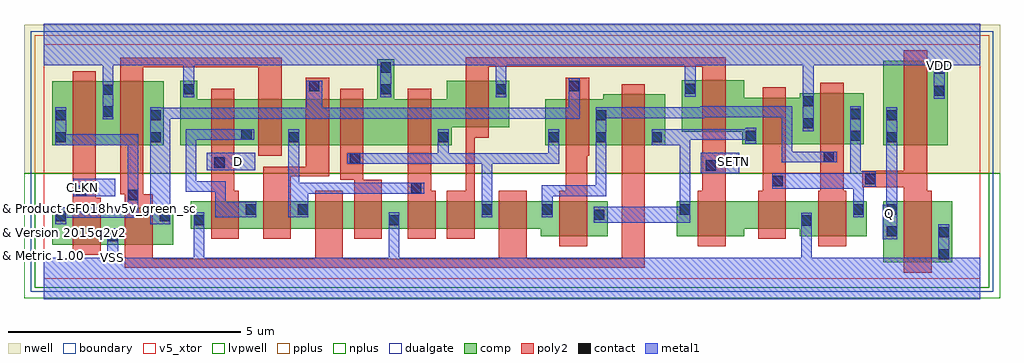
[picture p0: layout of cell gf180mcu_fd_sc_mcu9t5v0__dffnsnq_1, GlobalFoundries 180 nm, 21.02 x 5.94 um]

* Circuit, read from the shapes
.subckt gf180mcu_fd_sc_mcu9t5v0__dffnsnq_1 CLKN D Q SETN VDD VSS
XM1 VSS CLKN n1 VSUBS nfet_05v0 w=0.79u l=0.6u
XM2 n2 n1 VSS VSUBS nfet_05v0 w=0.79u l=0.6u
XM3 n3 D VSS VSUBS nfet_05v0 w=0.59u l=0.6u
XM4 n4 n2 n3 VSUBS nfet_05v0 w=0.59u l=0.6u
XM5 n5 n1 n4 VSUBS nfet_05v0 w=0.59u l=0.6u
XM6 VSS n6 n5 VSUBS nfet_05v0 w=0.59u l=0.6u
XM7 n7 n4 VSS VSUBS nfet_05v0 w=0.59u l=0.6u
XM8 n6 SETN n7 VSUBS nfet_05v0 w=0.59u l=0.6u
XM9 n8 n1 n6 VSUBS nfet_05v0 w=0.59u l=0.6u
XM10 n9 n2 n8 VSUBS nfet_05v0 w=0.75u l=0.6u
XM11 n10 SETN n9 VSUBS nfet_05v0 w=0.75u l=0.6u
XM12 VSS n11 n10 VSUBS nfet_05v0 w=0.59u l=0.6u
XM13 n11 n8 VSS VSUBS nfet_05v0 w=0.75u l=0.6u
XM14 VSS n11 Q VSUBS nfet_05v0 w=1.32u l=0.6u
XM15 VDD CLKN n1 n12 pfet_05v0 w=1.38u l=0.5u
XM16 n2 n1 VDD n12 pfet_05v0 w=1.38u l=0.5u
XM17 n3 D VDD n12 pfet_05v0 w=1u l=0.5u
XM18 n4 n1 n3 n12 pfet_05v0 w=1u l=0.5u
XM19 n13 n2 n4 n12 pfet_05v0 w=1u l=0.5u
XM20 VDD n6 n13 n12 pfet_05v0 w=1u l=0.5u
XM21 n6 n4 VDD n12 pfet_05v0 w=1u l=0.5u
XM22 VDD SETN n6 n12 pfet_05v0 w=1u l=0.5u
XM23 n8 n2 n6 n12 pfet_05v0 w=1u l=0.5u
XM24 n9 n1 n8 n12 pfet_05v0 w=1.1u l=0.5u
XM25 n9 SETN VDD n12 pfet_05v0 w=1.1u l=0.5u
XM26 VDD n11 n9 n12 pfet_05v0 w=1u l=0.5u
XM27 n11 n8 VDD n12 pfet_05v0 w=1.1u l=0.5u
XM28 VDD n11 Q n12 pfet_05v0 w=1.83u l=0.5u
.ends

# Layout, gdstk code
import gdstk
lib = gdstk.Library(unit=1e-6, precision=1e-09)
def R(c, l, rs):  # rectangles x0, y0, x1, y1
    for r in rs: c.add(gdstk.rectangle(r[:2], r[2:], *l))
def P(c, l, *ps):  # polygons
    for p in ps: c.add(gdstk.Polygon(p, *l))
boundary = (0, 0)
nwell = (21, 0)
comp = (22, 0)
poly2 = (30, 0)
pplus = (31, 0)
nplus = (32, 0)
contact = (33, 0)
metal1 = (34, 0)
dualgate = (55, 0)
v5_xtor = (112, 1)
lvpwell = (204, 0)

gf180mcu_fd_sc_mcu9t5v0_ = lib.new_cell('gf180mcu_fd_sc_mcu9t5v0__dffnsnq_1')
R(gf180mcu_fd_sc_mcu9t5v0_, boundary, [(0,0,20.16,5.04)])
R(gf180mcu_fd_sc_mcu9t5v0_, nwell, [(-0.43,2.265,20.59,5.47)])
R(gf180mcu_fd_sc_mcu9t5v0_, comp, [(18.08,0.345,19.56,1.665), (0.18,0.73,2.78,1.52), (0.18,2.865,2.58,4.245), (18.08,2.865,19.46,4.695)])
P(gf180mcu_fd_sc_mcu9t5v0_, comp, [(2.94,2.865),(2.94,4.255),(3.3,4.255),(3.3,3.865),(7.18,3.865),(7.18,4.725),(7.54,4.725),(7.54,3.865),(8.68,3.865),(8.68,4.255),(10.02,4.255),(10.02,3.255),(8.78,3.255),(8.78,2.865)],
  [(10.7,0.915),(10.7,1.075),(3.16,1.075),(3.16,1.665),(12.14,1.665),(12.14,0.915)],
  [(10.8,2.865),(10.8,3.865),(12.04,3.865),(12.04,3.965),(13.38,3.965),(13.38,2.865)],
  [(15.04,2.895),(15.04,3.165),(13.74,3.165),(13.74,4.265),(15.08,4.265),(15.08,3.895),(16.28,3.895),(16.28,3.995),(17.66,3.995),(17.66,2.895)],
  [(13.625,0.915),(13.625,1.665),(17.72,1.665),(17.72,0.915),(16.28,0.915),(16.28,1.075),(15.08,1.075),(15.08,0.915)])
P(gf180mcu_fd_sc_mcu9t5v0_, poly2, [(0.62,0.51),(0.62,4.465),(1.12,4.465),(1.12,1.74),(1.22,1.74),(1.22,0.51)],
  [(3.6,0.855),(3.6,4.085),(4.1,4.085),(4.1,1.885),(4.2,1.885),(4.2,0.855)],
  [(4.72,0.855),(4.72,2.405),(5.64,2.405),(5.64,4.325),(6.14,4.325),(6.14,2.205),(5.32,2.205),(5.32,0.855)],
  [(6.68,0.855),(6.68,2.125),(6.38,2.125),(6.38,4.085),(6.88,4.085),(6.88,2.125),(7.28,2.125),(7.28,0.855)],
  [(7.84,0.855),(7.84,4.085),(8.34,4.085),(8.34,1.885),(8.44,1.885),(8.44,0.855)],
  [(11.1,0.695),(11.1,1.885),(11.24,1.885),(11.24,4.325),(11.74,4.325),(11.74,2.645),(11.7,2.645),(11.7,0.695)],
  [(1.74,0.23),(1.74,1.82),(1.64,1.82),(1.64,4.755),(5.12,4.755),(5.12,2.645),(4.62,2.645),(4.62,4.555),(2.14,4.555),(2.14,1.82),(2.34,1.82),(2.34,0.43),(5.84,0.43),(5.84,1.885),(6.44,1.885),(6.44,0.43),(9.8,0.43),(9.8,1.885),(10.4,1.885),(10.4,0.43),(12.44,0.43),(12.44,4.185),(12.94,4.185),(12.94,0.23)],
  [(14.08,0.695),(14.08,1.885),(14.18,1.885),(14.18,4.565),(9.58,4.565),(9.58,3.035),(9.28,3.035),(9.28,0.855),(8.68,0.855),(8.68,1.885),(9.08,1.885),(9.08,4.765),(14.68,4.765),(14.68,0.695)],
  [(15.38,0.855),(15.38,1.885),(15.48,1.885),(15.48,4.115),(15.98,4.115),(15.98,0.855)],
  [(16.68,0.695),(16.68,1.885),(16.72,1.885),(16.72,4.215),(17.22,4.215),(17.22,1.885),(17.28,1.885),(17.28,0.695)],
  [(18.52,0.125),(18.52,1.965),(17.62,1.965),(17.62,2.325),(18.52,2.325),(18.52,4.915),(19.02,4.915),(19.02,1.885),(19.12,1.885),(19.12,0.125)])
R(gf180mcu_fd_sc_mcu9t5v0_, pplus, [(-0.2,2.265,20.36,5.24)])
R(gf180mcu_fd_sc_mcu9t5v0_, nplus, [(-0.2,-0.2,20.36,2.265)])
R(gf180mcu_fd_sc_mcu9t5v0_, contact, [(19.27,0.415,19.49,0.635), (1.37,0.8,1.59,1.02), (19.27,0.885,19.49,1.105), (18.15,0.905,18.37,1.125), (16.31,1.14,16.53,1.36), (3.23,1.145,3.45,1.365), (7.43,1.145,7.65,1.365), (0.25,1.23,0.47,1.45), (2.49,1.23,2.71,1.45), (11.85,1.265,12.07,1.485), (4.35,1.375,4.57,1.595), (5.47,1.375,5.69,1.595), (9.43,1.375,9.65,1.595), (10.73,1.375,10.95,1.595), (13.695,1.375,13.915,1.595), (17.43,1.375,17.65,1.595), (18.15,1.375,18.37,1.595), (1.81,1.69,2.03,1.91), (0.69,1.775,0.91,1.995), (7.91,1.835,8.13,2.055), (15.69,1.99,15.91,2.21), (17.69,2.035,17.91,2.255), (14.25,2.325,14.47,2.545), (3.67,2.39,3.89,2.61), (6.59,2.475,6.81,2.695), (16.79,2.505,17.01,2.725), (0.25,2.935,0.47,3.155), (2.29,2.935,2.51,3.155), (5.27,2.935,5.49,3.155), (8.49,2.935,8.71,3.155), (10.87,2.935,11.09,3.155), (11.89,2.935,12.11,3.155), (13.09,2.935,13.31,3.155), (18.15,2.935,18.37,3.155), (15.11,2.965,15.33,3.185), (17.37,2.965,17.59,3.185), (4.25,2.99,4.47,3.21), (16.35,3.235,16.57,3.455), (0.25,3.405,0.47,3.625), (2.29,3.405,2.51,3.625), (11.89,3.405,12.11,3.625), (18.15,3.405,18.37,3.625), (17.37,3.435,17.59,3.655), (1.27,3.485,1.49,3.705), (16.35,3.705,16.57,3.925), (19.17,3.935,19.39,4.155), (1.27,3.955,1.49,4.175), (3.01,3.965,3.23,4.185), (7.25,3.965,7.47,4.185), (9.73,3.965,9.95,4.185), (13.81,3.975,14.03,4.195), (5.71,4.035,5.93,4.255), (11.31,4.035,11.53,4.255), (19.17,4.405,19.39,4.625), (7.25,4.435,7.47,4.655)])
R(gf180mcu_fd_sc_mcu9t5v0_, metal1, [(0.63,1.77,1.53,2.15), (14.15,2.265,14.975,2.71), (3.51,2.33,4.55,2.71)])
P(gf180mcu_fd_sc_mcu9t5v0_, metal1, [(0.245,1.17),(0.245,1.54),(1.805,1.54),(1.805,2.875),(0.245,2.875),(0.245,3.685),(0.475,3.685),(0.475,3.105),(2.035,3.105),(2.035,1.31),(0.475,1.31),(0.475,1.17)],
  [(3.685,1.315),(3.685,1.87),(3.05,1.87),(3.05,3.215),(4.53,3.215),(4.53,2.985),(3.28,2.985),(3.28,2.1),(3.915,2.1),(3.915,1.655),(4.575,1.655),(4.575,1.315)],
  [(5.265,1.315),(5.265,3.215),(5.495,3.215),(5.495,2.06),(8.19,2.06),(8.19,1.83),(5.695,1.83),(5.695,1.315)],
  [(9.425,1.315),(9.425,2.47),(6.53,2.47),(6.53,2.7),(8.485,2.7),(8.485,3.215),(8.715,3.215),(8.715,2.7),(10.865,2.7),(10.865,3.215),(11.095,3.215),(11.095,2.47),(9.655,2.47),(9.655,1.315)],
  [(2.285,1.17),(2.285,3.685),(2.515,3.685),(2.515,3.675),(5.65,3.675),(5.65,4.26),(5.99,4.26),(5.99,3.675),(11.305,3.675),(11.305,4.315),(11.535,4.315),(11.535,3.445),(2.715,3.445),(2.715,1.17)],
  [(11.845,1.205),(11.845,1.545),(13.69,1.545),(13.69,2.875),(13.085,2.875),(13.085,3.215),(15.105,3.215),(15.105,3.245),(15.335,3.245),(15.335,2.905),(15.105,2.905),(15.105,2.985),(13.92,2.985),(13.92,1.205)],
  [(10.725,1.315),(10.725,2.005),(11.885,2.005),(11.885,3.685),(14.13,3.685),(14.13,3.705),(16.115,3.705),(16.115,2.73),(17.07,2.73),(17.07,2.5),(15.885,2.5),(15.885,3.475),(14.225,3.475),(14.225,3.455),(12.115,3.455),(12.115,1.775),(10.955,1.775),(10.955,1.315)],
  [(17.425,1.315),(17.425,1.93),(15.685,1.93),(15.685,2.27),(17.365,2.27),(17.365,3.715),(17.595,3.715),(17.595,2.315),(17.915,2.315),(17.915,1.975),(17.655,1.975),(17.655,1.315)],
  [(18.07,0.845),(18.07,1.59),(18.145,1.59),(18.145,3.685),(18.375,3.685),(18.375,0.845)],
  [(0,-0.45),(0,0.45),(1.365,0.45),(1.365,1.08),(1.595,1.08),(1.595,0.45),(3.225,0.45),(3.225,1.425),(3.455,1.425),(3.455,0.45),(7.425,0.45),(7.425,1.425),(7.655,1.425),(7.655,0.45),(16.305,0.45),(16.305,1.42),(16.535,1.42),(16.535,0.45),(19.265,0.45),(19.265,1.165),(19.495,1.165),(19.495,0.45),(20.16,0.45),(20.16,-0.45)],
  [(16.345,3.175),(16.345,4.59),(14.035,4.59),(14.035,3.915),(13.805,3.915),(13.805,4.59),(9.955,4.59),(9.955,3.905),(9.725,3.905),(9.725,4.59),(7.475,4.59),(7.475,3.905),(7.245,3.905),(7.245,4.59),(3.235,4.59),(3.235,3.905),(3.005,3.905),(3.005,4.59),(1.495,4.59),(1.495,3.425),(1.265,3.425),(1.265,4.59),(0,4.59),(0,5.49),(20.16,5.49),(20.16,4.59),(19.395,4.59),(19.395,3.875),(19.165,3.875),(19.165,4.59),(16.575,4.59),(16.575,3.175)])
R(gf180mcu_fd_sc_mcu9t5v0_, dualgate, [(-0.28,-0.28,20.44,5.32)])
R(gf180mcu_fd_sc_mcu9t5v0_, v5_xtor, [(0,0,20.16,5.04)])
R(gf180mcu_fd_sc_mcu9t5v0_, lvpwell, [(-0.43,-0.43,20.59,2.265)])
gf180mcu_fd_sc_mcu9t5v0_.add(gdstk.Label('CLKN', (0.84,1.96), layer=34, texttype=10))
gf180mcu_fd_sc_mcu9t5v0_.add(gdstk.Label('D', (4.2,2.52), layer=34, texttype=10))
gf180mcu_fd_sc_mcu9t5v0_.add(gdstk.Label('Q', (18.2,1.4), layer=34, texttype=10))
gf180mcu_fd_sc_mcu9t5v0_.add(gdstk.Label('SETN', (14.84,2.52), layer=34, texttype=10))
gf180mcu_fd_sc_mcu9t5v0_.add(gdstk.Label('VDD', (19.28,4.59), layer=34, texttype=10))
gf180mcu_fd_sc_mcu9t5v0_.add(gdstk.Label('VSS', (1.48,0.45), layer=34, texttype=10))
gf180mcu_fd_sc_mcu9t5v0_.add(gdstk.Label('& Vendor GLOBALFOUNDRIES', (0,2), layer=63, texttype=63))
gf180mcu_fd_sc_mcu9t5v0_.add(gdstk.Label('& Product GF018hv5v_green_sc9', (0,1.5), layer=63, texttype=63))
gf180mcu_fd_sc_mcu9t5v0_.add(gdstk.Label('& Version 2015q2v2', (0,1), layer=63, texttype=63))
gf180mcu_fd_sc_mcu9t5v0_.add(gdstk.Label('& Metric 1.00', (0,0.5), layer=63, texttype=63))

lib.write_gds('gf180mcu_fd_sc_mcu9t5v0__dffnsnq_1.gds')
